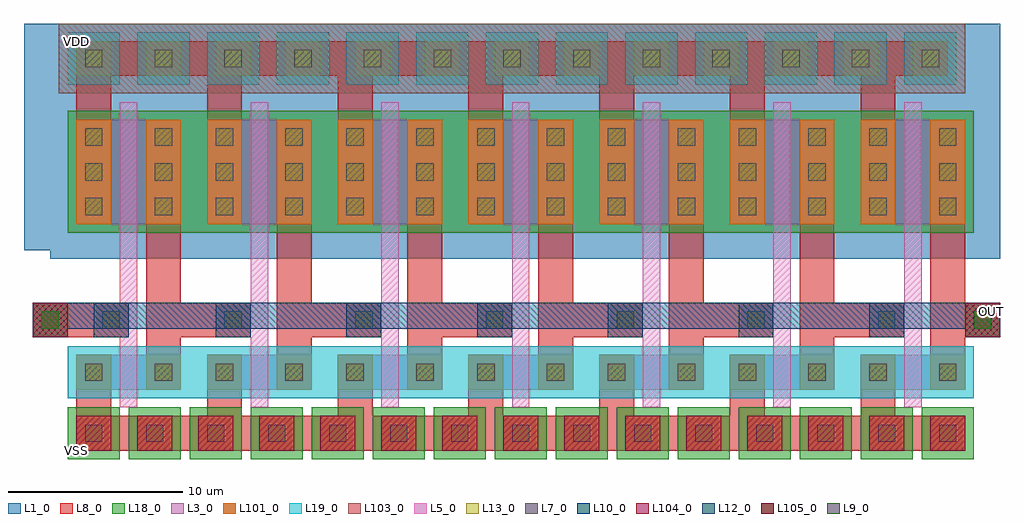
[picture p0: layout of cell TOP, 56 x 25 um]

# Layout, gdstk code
from math import pi, radians
import gdstk
lib = gdstk.Library(unit=1e-6, precision=1e-09)
def R(c, l, rs):  # rectangles x0, y0, x1, y1
    for r in rs: c.add(gdstk.rectangle(r[:2], r[2:], *l))
def A(c, l, x, y, w, h, nx, ny, dx, dy):  # array of equal rectangles
    R(c, l, [(x+i*dx, y+j*dy, x+i*dx+w, y+j*dy+h) for i in range(nx) for j in range(ny)])
def P(c, l, *ps):  # polygons
    for p in ps: c.add(gdstk.Polygon(p, *l))
L1_0 = (1, 0)
L3_0 = (3, 0)
L5_0 = (5, 0)
L7_0 = (7, 0)
L8_0 = (8, 0)
L9_0 = (9, 0)
L10_0 = (10, 0)
L12_0 = (12, 0)
L13_0 = (13, 0)
L18_0 = (18, 0)
L19_0 = (19, 0)
L101_0 = (101, 0)
L103_0 = (103, 0)
L104_0 = (104, 0)
L105_0 = (105, 0)

dcont = lib.new_cell('dcont')
R(dcont, L3_0, [(-1,-1,1,1)])
R(dcont, L7_0, [(-0.5,-0.5,0.5,0.5)])
R(dcont, L8_0, [(-1,-1,1,1)])
R(dcont, L13_0, [(-0.5,-0.5,0.5,0.5)])
R(dcont, L101_0, [(-1,-1,1,1)])
dcont.add(gdstk.Label('dcont', (0,0), layer=13, texttype=0))

nsubcont = lib.new_cell('nsubcont')
R(nsubcont, L1_0, [(-2,-2,2,2)])
R(nsubcont, L19_0, [(-1.5,-1.5,1.5,1.5)])
R(nsubcont, L103_0, [(-2,-2,2,2)])
nsubcont.add(gdstk.Reference(dcont, (0,0)))
nsubcont.add(gdstk.Label('NScont', (0,0), layer=13, texttype=0))

via = lib.new_cell('Via')
R(via, L8_0, [(-1,-1,1,1)])
R(via, L9_0, [(-0.5,-0.5,0.5,0.5)])
R(via, L10_0, [(-1,-1,1,1)])
R(via, L13_0, [(-0.5,-0.5,0.5,0.5)])
R(via, L105_0, [(-1,-1,1,1)])
via.add(gdstk.Label('via', (0,0), layer=13, texttype=0))

psubcont = lib.new_cell('psubcont')
R(psubcont, L18_0, [(-1.5,-1.5,1.5,1.5)])
R(psubcont, L104_0, [(-1,-1,1,1)])
psubcont.add(gdstk.Reference(dcont, (0,0)))
psubcont.add(gdstk.Label('PScon', (0,0), layer=13, texttype=0))

pcont = lib.new_cell('pcont')
R(pcont, L5_0, [(-1,-1,1,1)])
R(pcont, L7_0, [(-0.5,-0.5,0.5,0.5)])
R(pcont, L8_0, [(-1,-1,1,1)])
R(pcont, L12_0, [(-1,-1,1,1)])
R(pcont, L13_0, [(-0.5,-0.5,0.5,0.5)])
pcont.add(gdstk.Label('pcont', (0,0), layer=13, texttype=0))

top = lib.new_cell('TOP')
P(top, L1_0, [(-8.5,-4.5),(-8.5,-4),(-10,-4),(-10,9),(46,9),(46,-4.5)])
A(top, L3_0, -5, -12, 2, 2, 7, 1, 7.5, 0)
A(top, L3_0, -5, -2.5, 2, 6, 7, 1, 7.5, 0)
A(top, L5_0, -4.5, -13, 1, 4, 7, 1, 7.5, 0)
A(top, L5_0, -4.5, -9, 1, 13.5, 7, 1, 7.5, 0)
A(top, L8_0, -7, -13.5, 2, 1.5, 7, 1, 7.5, 0)
A(top, L8_0, -3, -10, 2, 7.5, 7, 1, 7.5, 0)
A(top, L8_0, -1, -9, 2, 2, 6, 1, 7.5, 0)
A(top, L8_0, -7, 3.5, 2, 2.5, 7, 1, 7.5, 0)
R(top, L8_0, [(-5,-15.5,42,-13.5), (-7.5,-9,-6,-7), (-5,6,41.5,8)])
R(top, L10_0, [(-7.5,-8.5,44.5,-7)])
R(top, L18_0, [(-7.5,-3,37.5,4), (37.5,-3,44.5,4)])
R(top, L19_0, [(-7.5,-12.5,37.5,-9.5), (37.5,-12.5,44.5,-9.5)])
top.add(gdstk.Reference(nsubcont, (-6,7), rotation=pi))
top.add(gdstk.Reference(nsubcont, (-2,7), rotation=pi))
top.add(gdstk.Reference(nsubcont, (2,7), rotation=pi))
top.add(gdstk.Reference(nsubcont, (6,7), rotation=pi))
top.add(gdstk.Reference(via, (45,-8), rotation=pi))
top.add(gdstk.Reference(dcont, (-6,2.5), rotation=pi))
top.add(gdstk.Reference(dcont, (-6,0.5), rotation=pi))
top.add(gdstk.Reference(dcont, (-6,-1.5), rotation=pi))
top.add(gdstk.Reference(dcont, (-2,2.5), rotation=pi))
top.add(gdstk.Reference(dcont, (-2,0.5), rotation=pi))
top.add(gdstk.Reference(dcont, (-2,-1.5), rotation=pi))
top.add(gdstk.Reference(via, (-8.5,-8), rotation=pi))
top.add(gdstk.Reference(psubcont, (43,-14.5), rotation=pi))
top.add(gdstk.Reference(psubcont, (39.5,-14.5), rotation=pi))
top.add(gdstk.Reference(psubcont, (36,-14.5), rotation=pi))
top.add(gdstk.Reference(psubcont, (32.5,-14.5), rotation=pi))
top.add(gdstk.Reference(psubcont, (29,-14.5), rotation=pi))
top.add(gdstk.Reference(psubcont, (25.5,-14.5), rotation=pi))
top.add(gdstk.Reference(psubcont, (22,-14.5), rotation=pi))
top.add(gdstk.Reference(psubcont, (18.5,-14.5), rotation=pi))
top.add(gdstk.Reference(dcont, (1.5,2.5), rotation=pi))
top.add(gdstk.Reference(dcont, (1.5,0.5), rotation=pi))
top.add(gdstk.Reference(dcont, (1.5,-1.5), rotation=pi))
top.add(gdstk.Reference(dcont, (5.5,2.5), rotation=pi))
top.add(gdstk.Reference(dcont, (5.5,0.5), rotation=pi))
top.add(gdstk.Reference(dcont, (5.5,-1.5), rotation=pi))
top.add(gdstk.Reference(psubcont, (15,-14.5), rotation=pi))
top.add(gdstk.Reference(psubcont, (11.5,-14.5), rotation=pi))
top.add(gdstk.Reference(dcont, (43,-11), rotation=pi))
top.add(gdstk.Reference(dcont, (9,2.5), rotation=pi))
top.add(gdstk.Reference(dcont, (9,0.5), rotation=pi))
top.add(gdstk.Reference(dcont, (9,-1.5), rotation=pi))
top.add(gdstk.Reference(dcont, (13,2.5), rotation=pi))
top.add(gdstk.Reference(dcont, (13,0.5), rotation=pi))
top.add(gdstk.Reference(dcont, (13,-1.5), rotation=pi))
top.add(gdstk.Reference(dcont, (39,-11), rotation=pi))
top.add(gdstk.Reference(pcont, (39.5,-8), rotation=pi))
top.add(gdstk.Reference(dcont, (35.5,-11), rotation=pi))
top.add(gdstk.Reference(dcont, (16.5,2.5), rotation=pi))
top.add(gdstk.Reference(dcont, (16.5,0.5), rotation=pi))
top.add(gdstk.Reference(dcont, (16.5,-1.5), rotation=pi))
top.add(gdstk.Reference(dcont, (20.5,2.5), rotation=pi))
top.add(gdstk.Reference(dcont, (20.5,0.5), rotation=pi))
top.add(gdstk.Reference(dcont, (20.5,-1.5), rotation=pi))
top.add(gdstk.Reference(dcont, (31.5,-11), rotation=pi))
top.add(gdstk.Reference(pcont, (32,-8), rotation=pi))
top.add(gdstk.Reference(dcont, (28,-11), rotation=pi))
top.add(gdstk.Reference(dcont, (24,2.5), rotation=pi))
top.add(gdstk.Reference(dcont, (24,0.5), rotation=pi))
top.add(gdstk.Reference(dcont, (24,-1.5), rotation=pi))
top.add(gdstk.Reference(dcont, (28,2.5), rotation=pi))
top.add(gdstk.Reference(dcont, (28,0.5), rotation=pi))
top.add(gdstk.Reference(dcont, (28,-1.5), rotation=pi))
top.add(gdstk.Reference(dcont, (24,-11), rotation=pi))
top.add(gdstk.Reference(pcont, (24.5,-8), rotation=pi))
top.add(gdstk.Reference(dcont, (20.5,-11), rotation=pi))
top.add(gdstk.Reference(dcont, (31.5,2.5), rotation=pi))
top.add(gdstk.Reference(dcont, (31.5,0.5), rotation=pi))
top.add(gdstk.Reference(dcont, (31.5,-1.5), rotation=pi))
top.add(gdstk.Reference(dcont, (35.5,2.5), rotation=pi))
top.add(gdstk.Reference(dcont, (35.5,0.5), rotation=pi))
top.add(gdstk.Reference(dcont, (35.5,-1.5), rotation=pi))
top.add(gdstk.Reference(dcont, (16.5,-11), rotation=pi))
top.add(gdstk.Reference(pcont, (17,-8), rotation=pi))
top.add(gdstk.Reference(dcont, (13,-11), rotation=pi))
top.add(gdstk.Reference(dcont, (39,2.5), rotation=pi))
top.add(gdstk.Reference(dcont, (39,0.5), rotation=pi))
top.add(gdstk.Reference(dcont, (39,-1.5), rotation=pi))
top.add(gdstk.Reference(dcont, (43,2.5), rotation=pi))
top.add(gdstk.Reference(dcont, (43,0.5), rotation=pi))
top.add(gdstk.Reference(dcont, (43,-1.5), rotation=pi))
top.add(gdstk.Reference(dcont, (9,-11), rotation=pi))
top.add(gdstk.Reference(pcont, (9.5,-8), rotation=pi))
top.add(gdstk.Reference(nsubcont, (10,7), rotation=pi))
top.add(gdstk.Reference(nsubcont, (14,7), rotation=pi))
top.add(gdstk.Reference(nsubcont, (18,7), rotation=pi))
top.add(gdstk.Reference(nsubcont, (22,7), rotation=pi))
top.add(gdstk.Reference(nsubcont, (26,7), rotation=pi))
top.add(gdstk.Reference(nsubcont, (34,7), rotation=pi))
top.add(gdstk.Reference(nsubcont, (38,7), rotation=pi))
top.add(gdstk.Reference(dcont, (5.5,-11), rotation=pi))
top.add(gdstk.Reference(dcont, (1.5,-11), rotation=pi))
top.add(gdstk.Reference(pcont, (2,-8), rotation=pi))
top.add(gdstk.Reference(psubcont, (1,-14.5), rotation=pi))
top.add(gdstk.Reference(psubcont, (4.5,-14.5), rotation=pi))
top.add(gdstk.Reference(psubcont, (8,-14.5), rotation=pi))
top.add(gdstk.Reference(psubcont, (-2.5,-14.5), rotation=pi))
top.add(gdstk.Reference(psubcont, (-6,-14.5), rotation=pi))
top.add(gdstk.Reference(dcont, (-2,-11), rotation=pi))
top.add(gdstk.Reference(dcont, (-6,-11), rotation=pi))
top.add(gdstk.Reference(pcont, (-5,-8), rotation=pi))
top.add(gdstk.Reference(nsubcont, (42,7), rotation=pi))
top.add(gdstk.Reference(nsubcont, (30,7), rotation=pi))
top.add(gdstk.Label('VDD', (-7,8), layer=8, texttype=0))
top.add(gdstk.Label('VSS', (-7,-15.5), layer=8, texttype=0))
top.add(gdstk.Label('OUT', (45.5,-7.5), layer=10, texttype=0))

lib.write_gds('TOP.gds')
